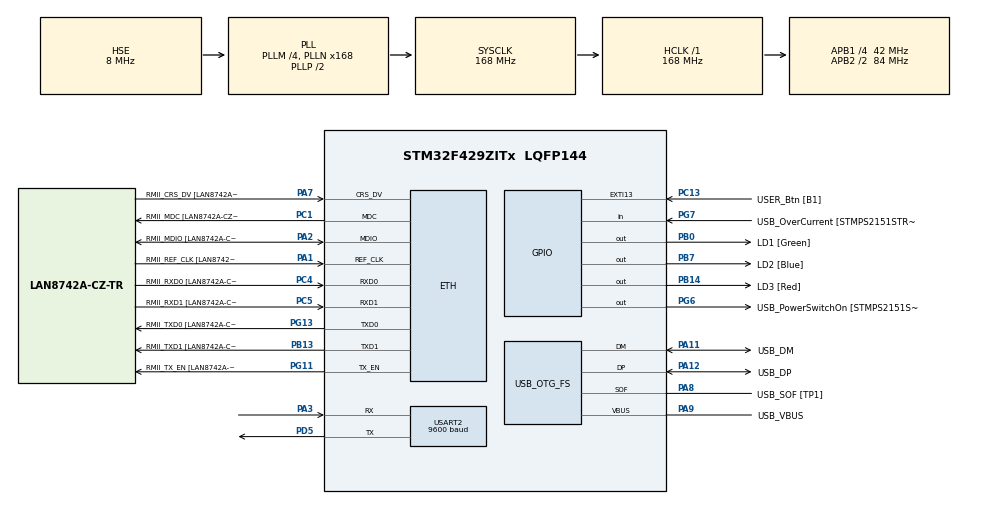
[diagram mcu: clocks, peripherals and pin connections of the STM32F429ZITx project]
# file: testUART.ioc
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Dma.Request0=USART2_TX
Dma.Request1=USART2_RX
Dma.USART2_RX.1.Direction=DMA_PERIPH_TO_MEMORY
Dma.USART2_RX.1.FIFOMode=DMA_FIFOMODE_DISABLE
Dma.USART2_RX.1.Instance=DMA1_Stream5
Dma.USART2_RX.1.MemDataAlignment=DMA_MDATAALIGN_BYTE
Dma.USART2_RX.1.MemInc=DMA_MINC_ENABLE
Dma.USART2_RX.1.Mode=DMA_NORMAL
Dma.USART2_RX.1.PeriphDataAlignment=DMA_PDATAALIGN_BYTE
Dma.USART2_RX.1.PeriphInc=DMA_PINC_DISABLE
Dma.USART2_RX.1.Priority=DMA_PRIORITY_LOW
Dma.USART2_TX.0.Direction=DMA_MEMORY_TO_PERIPH
Dma.USART2_TX.0.FIFOMode=DMA_FIFOMODE_DISABLE
Dma.USART2_TX.0.Instance=DMA1_Stream6
Dma.USART2_TX.0.MemDataAlignment=DMA_MDATAALIGN_BYTE
Dma.USART2_TX.0.MemInc=DMA_MINC_ENABLE
Dma.USART2_TX.0.Mode=DMA_NORMAL
Dma.USART2_TX.0.PeriphDataAlignment=DMA_PDATAALIGN_BYTE
Dma.USART2_TX.0.PeriphInc=DMA_PINC_DISABLE
Dma.USART2_TX.0.Priority=DMA_PRIORITY_LOW
ETH.MediaInterface=HAL_ETH_RMII_MODE
ETH.PHY_Name=LAN8742A_PHY_ADDRESS
ETH.PHY_Value=0
ETH.PhyAddress=0
Mcu.Family=STM32F4
Mcu.Name=STM32F429ZITx
Mcu.Package=LQFP144
NVIC.DMA1_Stream5_IRQn=true\:0\:0\:false\:false\:true\:false\:true\:true
NVIC.DMA1_Stream6_IRQn=true\:0\:0\:false\:false\:true\:false\:true\:true
NVIC.EXTI15_10_IRQn=true\:0\:0\:false\:false\:true\:true\:true\:true
NVIC.PriorityGroup=NVIC_PRIORITYGROUP_4
NVIC.USART2_IRQn=true\:0\:0\:false\:false\:true\:true\:true\:true
PA1.GPIO_Label=RMII_REF_CLK [LAN8742A-CZ-TR_REFCLK0]
PA1.Mode=RMII
PA1.Signal=ETH_REF_CLK
PA10.GPIO_Label=USB_ID
PA10.Signal=USB_OTG_FS_ID
PA11.GPIO_Label=USB_DM
PA11.Mode=Device_Only
PA11.Signal=USB_OTG_FS_DM
PA12.GPIO_Label=USB_DP
PA12.Mode=Device_Only
PA12.Signal=USB_OTG_FS_DP
PA13.GPIO_Label=TMS
PA13.Mode=Serial_Wire
PA13.Signal=SYS_JTMS-SWDIO
PA14.GPIO_Label=TCK
PA14.Mode=Serial_Wire
PA14.Signal=SYS_JTCK-SWCLK
PA2.GPIO_Label=RMII_MDIO [LAN8742A-CZ-TR_MDIO]
PA2.Mode=RMII
PA2.Signal=ETH_MDIO
PA3.Mode=Asynchronous
PA3.Signal=USART2_RX
PA7.GPIO_Label=RMII_CRS_DV [LAN8742A-CZ-TR_CRS_DV]
PA7.Mode=RMII
PA7.Signal=ETH_CRS_DV
PA8.GPIO_Label=USB_SOF [TP1]
PA8.Mode=Activate_SOF_FS
PA8.Signal=USB_OTG_FS_SOF
PA9.GPIO_Label=USB_VBUS
PA9.Mode=Activate_VBUS
PA9.Signal=USB_OTG_FS_VBUS
PB0.GPIO_Label=LD1 [Green]
PB0.Signal=GPIO_Output
PB13.GPIO_Label=RMII_TXD1 [LAN8742A-CZ-TR_TXD1]
PB13.Mode=RMII
PB13.Signal=ETH_TXD1
PB14.GPIO_Label=LD3 [Red]
PB14.Signal=GPIO_Output
PB7.GPIO_Label=LD2 [Blue]
PB7.Signal=GPIO_Output
PC1.GPIO_Label=RMII_MDC [LAN8742A-CZ-TR_MDC]
PC1.Mode=RMII
PC1.Signal=ETH_MDC
PC13.GPIO_Label=USER_Btn [B1]
PC13.GPIO_ModeDefaultEXTI=GPIO_MODE_IT_RISING
PC13.GPIO_PuPd=GPIO_PULLDOWN
PC13.Signal=GPXTI13
PC14/OSC32_IN.Mode=LSE-External-Oscillator
PC14/OSC32_IN.Signal=RCC_OSC32_IN
PC15/OSC32_OUT.Mode=LSE-External-Oscillator
PC15/OSC32_OUT.Signal=RCC_OSC32_OUT
PC4.GPIO_Label=RMII_RXD0 [LAN8742A-CZ-TR_RXD0]
PC4.Mode=RMII
PC4.Signal=ETH_RXD0
PC5.GPIO_Label=RMII_RXD1 [LAN8742A-CZ-TR_RXD1]
PC5.Mode=RMII
PC5.Signal=ETH_RXD1
PD5.Mode=Asynchronous
PD5.Signal=USART2_TX
PD8.GPIO_Label=STLK_RX [STM32F103CBT6_PA3]
PD8.Signal=USART3_TX
PD9.GPIO_Label=STLK_TX [STM32F103CBT6_PA2]
PD9.Signal=USART3_RX
PG11.GPIO_Label=RMII_TX_EN [LAN8742A-CZ-TR_TXEN]
PG11.Mode=RMII
PG11.Signal=ETH_TX_EN
PG13.GPIO_Label=RMII_TXD0 [LAN8742A-CZ-TR_TXD0]
PG13.Mode=RMII
PG13.Signal=ETH_TXD0
PG6.GPIO_Label=USB_PowerSwitchOn [STMPS2151STR_EN]
PG6.Signal=GPIO_Output
PG7.GPIO_Label=USB_OverCurrent [STMPS2151STR_FAULT]
PG7.Signal=GPIO_Input
PH0/OSC_IN.GPIO_Label=MCO [STM32F103CBT6_PA8]
PH0/OSC_IN.Mode=HSE-External-Clock-Source
PH0/OSC_IN.Signal=RCC_OSC_IN
PH1/OSC_OUT.Mode=HSE-External-Clock-Source
PH1/OSC_OUT.Signal=RCC_OSC_OUT
ProjectManager.HeapSize=0x200
ProjectManager.StackSize=0x400
ProjectManager.TargetToolchain=STM32CubeIDE
RCC.48MHZClocksFreq_Value=48000000
RCC.AHBFreq_Value=168000000
RCC.APB1CLKDivider=RCC_HCLK_DIV4
RCC.APB1Freq_Value=42000000
RCC.APB1TimFreq_Value=84000000
RCC.APB2CLKDivider=RCC_HCLK_DIV2
RCC.APB2Freq_Value=84000000
RCC.APB2TimCLKDivider=2
RCC.APB2TimFreq_Value=168000000
RCC.CortexFreq_Value=168000000
RCC.HCLKFreq_Value=168000000
RCC.HSE_VALUE=8000000
RCC.HSI_VALUE=16000000
RCC.PLLM=4
RCC.PLLMUL=RCC_PLL_MUL9
RCC.PLLN=168
RCC.PLLQ=7
RCC.PRESCALERUSB=RCC_USBCLKSOURCE_PLL_DIV1_5
RCC.SYSCLKFreq_VALUE=168000000
RCC.SYSCLKSource=RCC_SYSCLKSOURCE_PLLCLK
RCC.SYSCLKSourceVirtual=RCC_SYSCLKSOURCE_PLLCLK
RCC.USBFreq_Value=48000000
RCC.VCOOutputFreq_Value=336000000
USART2.BaudRate=9600
USART2.VirtualMode=VM_ASYNC
USB_OTG_FS.VirtualMode=Device_Only
board=NUCLEO-F429ZI

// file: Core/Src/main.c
/* USER CODE BEGIN Header */
/**
  ******************************************************************************
  * @file           : main.c
  * @brief          : Main program body
  ******************************************************************************
  * @attention
  *
  * Copyright (c) 2024 STMicroelectronics.
  * All rights reserved.
  *
  * This software is licensed under terms that can be found in the LICENSE file
  * in the root directory of this software component.
  * If no LICENSE file comes with this software, it is provided AS-IS.
  *
  ******************************************************************************
  */
/* USER CODE END Header */
#include "main.h"
#include "string.h"
#include "bluetooth.h"

ETH_TxPacketConfig TxConfig;
ETH_DMADescTypeDef  DMARxDscrTab[ETH_RX_DESC_CNT]; /* Ethernet Rx DMA Descriptors */
ETH_DMADescTypeDef  DMATxDscrTab[ETH_TX_DESC_CNT]; /* Ethernet Tx DMA Descriptors */

ETH_HandleTypeDef heth;

UART_HandleTypeDef huart2;
DMA_HandleTypeDef hdma_usart2_tx;
DMA_HandleTypeDef hdma_usart2_rx;

PCD_HandleTypeDef hpcd_USB_OTG_FS;

void SystemClock_Config(void);
static void MX_GPIO_Init(void);
static void MX_DMA_Init(void);
static void MX_ETH_Init(void);
static void MX_USB_OTG_FS_PCD_Init(void);
static void MX_USART2_UART_Init(void);
/* USER CODE BEGIN PFP */
#define MESSAGE_LENGTH 16
/* USER CODE END PFP */

/* USER CODE BEGIN 0 */
UART_HandleTypeDef *bt_huart = &huart2;
uint8_t receive[MESSAGE_LENGTH];
uint8_t transmit[MESSAGE_LENGTH];
uint32_t uartRxIT, uartTxIT;
/* USER CODE END 0 */

int main(void)
{

  /* MCU Configuration--------------------------------------------------------*/

  /* Reset of all peripherals, Initializes the Flash interface and the Systick. */
  HAL_Init();

  /* USER CODE BEGIN Init */
  for(int i=0; i<MESSAGE_LENGTH; i++)
  {
	  transmit[i] = 0x2A;
  }
  /* USER CODE END Init */

  /* Configure the system clock */
  SystemClock_Config();

  /* Initialize all configured peripherals */
  MX_GPIO_Init();
  MX_DMA_Init();
  MX_ETH_Init();
  MX_USB_OTG_FS_PCD_Init();
  MX_USART2_UART_Init();
  /* USER CODE BEGIN 2 */
  BT_Config(bt_huart, MESSAGE_LENGTH);
  BT_Start_Receive();
  /* USER CODE END 2 */

  /* Infinite loop */
  /* USER CODE BEGIN WHILE */
  while (1)
  {
		HAL_GPIO_TogglePin(GPIOB, GPIO_PIN_7);
		HAL_Delay(200);
    /* USER CODE END WHILE */

  }
}

void SystemClock_Config(void)
{
  RCC_OscInitTypeDef RCC_OscInitStruct = {0};
  RCC_ClkInitTypeDef RCC_ClkInitStruct = {0};

  /** Configure the main internal regulator output voltage
  */
  __HAL_RCC_PWR_CLK_ENABLE();
  __HAL_PWR_VOLTAGESCALING_CONFIG(PWR_REGULATOR_VOLTAGE_SCALE1);

  /** Initializes the RCC Oscillators according to the specified parameters
  * in the RCC_OscInitTypeDef structure.
  */
  RCC_OscInitStruct.OscillatorType = RCC_OSCILLATORTYPE_HSE;
  RCC_OscInitStruct.HSEState = RCC_HSE_BYPASS;
  RCC_OscInitStruct.PLL.PLLState = RCC_PLL_ON;
  RCC_OscInitStruct.PLL.PLLSource = RCC_PLLSOURCE_HSE;
  RCC_OscInitStruct.PLL.PLLM = 4;
  RCC_OscInitStruct.PLL.PLLN = 168;
  RCC_OscInitStruct.PLL.PLLP = RCC_PLLP_DIV2;
  RCC_OscInitStruct.PLL.PLLQ = 7;
  if (HAL_RCC_OscConfig(&RCC_OscInitStruct) != HAL_OK)
  {
    Error_Handler();
  }

  /** Initializes the CPU, AHB and APB buses clocks
  */
  RCC_ClkInitStruct.ClockType = RCC_CLOCKTYPE_HCLK|RCC_CLOCKTYPE_SYSCLK
                              |RCC_CLOCKTYPE_PCLK1|RCC_CLOCKTYPE_PCLK2;
  RCC_ClkInitStruct.SYSCLKSource = RCC_SYSCLKSOURCE_PLLCLK;
  RCC_ClkInitStruct.AHBCLKDivider = RCC_SYSCLK_DIV1;
  RCC_ClkInitStruct.APB1CLKDivider = RCC_HCLK_DIV4;
  RCC_ClkInitStruct.APB2CLKDivider = RCC_HCLK_DIV2;

  if (HAL_RCC_ClockConfig(&RCC_ClkInitStruct, FLASH_LATENCY_5) != HAL_OK)
  {
    Error_Handler();
  }
}

static void MX_ETH_Init(void)
{

   static uint8_t MACAddr[6];

  heth.Instance = ETH;
  MACAddr[0] = 0x00;
  MACAddr[1] = 0x80;
  MACAddr[2] = 0xE1;
  MACAddr[3] = 0x00;
  MACAddr[4] = 0x00;
  MACAddr[5] = 0x00;
  heth.Init.MACAddr = &MACAddr[0];
  heth.Init.MediaInterface = HAL_ETH_RMII_MODE;
  heth.Init.TxDesc = DMATxDscrTab;
  heth.Init.RxDesc = DMARxDscrTab;
  heth.Init.RxBuffLen = 1524;

  if (HAL_ETH_Init(&heth) != HAL_OK)
  {
    Error_Handler();
  }

  memset(&TxConfig, 0 , sizeof(ETH_TxPacketConfig));
  TxConfig.Attributes = ETH_TX_PACKETS_FEATURES_CSUM | ETH_TX_PACKETS_FEATURES_CRCPAD;
  TxConfig.ChecksumCtrl = ETH_CHECKSUM_IPHDR_PAYLOAD_INSERT_PHDR_CALC;
  TxConfig.CRCPadCtrl = ETH_CRC_PAD_INSERT;

}

static void MX_USART2_UART_Init(void)
{

  huart2.Instance = USART2;
  huart2.Init.BaudRate = 9600;
  huart2.Init.WordLength = UART_WORDLENGTH_8B;
  huart2.Init.StopBits = UART_STOPBITS_1;
  huart2.Init.Parity = UART_PARITY_NONE;
  huart2.Init.Mode = UART_MODE_TX_RX;
  huart2.Init.HwFlowCtl = UART_HWCONTROL_NONE;
  huart2.Init.OverSampling = UART_OVERSAMPLING_16;
  if (HAL_UART_Init(&huart2) != HAL_OK)
  {
    Error_Handler();
  }

}

static void MX_USB_OTG_FS_PCD_Init(void)
{

  hpcd_USB_OTG_FS.Instance = USB_OTG_FS;
  hpcd_USB_OTG_FS.Init.dev_endpoints = 4;
  hpcd_USB_OTG_FS.Init.speed = PCD_SPEED_FULL;
  hpcd_USB_OTG_FS.Init.dma_enable = DISABLE;
  hpcd_USB_OTG_FS.Init.phy_itface = PCD_PHY_EMBEDDED;
  hpcd_USB_OTG_FS.Init.Sof_enable = ENABLE;
  hpcd_USB_OTG_FS.Init.low_power_enable = DISABLE;
  hpcd_USB_OTG_FS.Init.lpm_enable = DISABLE;
  hpcd_USB_OTG_FS.Init.vbus_sensing_enable = ENABLE;
  hpcd_USB_OTG_FS.Init.use_dedicated_ep1 = DISABLE;
  if (HAL_PCD_Init(&hpcd_USB_OTG_FS) != HAL_OK)
  {
    Error_Handler();
  }

}

static void MX_DMA_Init(void)
{

  /* DMA controller clock enable */
  __HAL_RCC_DMA1_CLK_ENABLE();

  /* DMA interrupt init */
  /* DMA1_Stream5_IRQn interrupt configuration */
  HAL_NVIC_SetPriority(DMA1_Stream5_IRQn, 0, 0);
  HAL_NVIC_EnableIRQ(DMA1_Stream5_IRQn);
  /* DMA1_Stream6_IRQn interrupt configuration */
  HAL_NVIC_SetPriority(DMA1_Stream6_IRQn, 0, 0);
  HAL_NVIC_EnableIRQ(DMA1_Stream6_IRQn);

}

static void MX_GPIO_Init(void)
{
  GPIO_InitTypeDef GPIO_InitStruct = {0};

  /* GPIO Ports Clock Enable */
  __HAL_RCC_GPIOC_CLK_ENABLE();
  __HAL_RCC_GPIOH_CLK_ENABLE();
  __HAL_RCC_GPIOA_CLK_ENABLE();
  __HAL_RCC_GPIOB_CLK_ENABLE();
  __HAL_RCC_GPIOD_CLK_ENABLE();
  __HAL_RCC_GPIOG_CLK_ENABLE();

  /*Configure GPIO pin Output Level */
  HAL_GPIO_WritePin(GPIOB, LD1_Pin|LD3_Pin|LD2_Pin, GPIO_PIN_RESET);

  /*Configure GPIO pin Output Level */
  HAL_GPIO_WritePin(USB_PowerSwitchOn_GPIO_Port, USB_PowerSwitchOn_Pin, GPIO_PIN_RESET);

  /*Configure GPIO pin : USER_Btn_Pin */
  GPIO_InitStruct.Pin = USER_Btn_Pin;
  GPIO_InitStruct.Mode = GPIO_MODE_IT_RISING;
  GPIO_InitStruct.Pull = GPIO_PULLDOWN;
  HAL_GPIO_Init(USER_Btn_GPIO_Port, &GPIO_InitStruct);

  /*Configure GPIO pins : LD1_Pin LD3_Pin LD2_Pin */
  GPIO_InitStruct.Pin = LD1_Pin|LD3_Pin|LD2_Pin;
  GPIO_InitStruct.Mode = GPIO_MODE_OUTPUT_PP;
  GPIO_InitStruct.Pull = GPIO_NOPULL;
  GPIO_InitStruct.Speed = GPIO_SPEED_FREQ_LOW;
  HAL_GPIO_Init(GPIOB, &GPIO_InitStruct);

  /*Configure GPIO pins : STLK_RX_Pin STLK_TX_Pin */
  GPIO_InitStruct.Pin = STLK_RX_Pin|STLK_TX_Pin;
  GPIO_InitStruct.Mode = GPIO_MODE_AF_PP;
  GPIO_InitStruct.Pull = GPIO_NOPULL;
  GPIO_InitStruct.Speed = GPIO_SPEED_FREQ_VERY_HIGH;
  GPIO_InitStruct.Alternate = GPIO_AF7_USART3;
  HAL_GPIO_Init(GPIOD, &GPIO_InitStruct);

  /*Configure GPIO pin : USB_PowerSwitchOn_Pin */
  GPIO_InitStruct.Pin = USB_PowerSwitchOn_Pin;
  GPIO_InitStruct.Mode = GPIO_MODE_OUTPUT_PP;
  GPIO_InitStruct.Pull = GPIO_NOPULL;
  GPIO_InitStruct.Speed = GPIO_SPEED_FREQ_LOW;
  HAL_GPIO_Init(USB_PowerSwitchOn_GPIO_Port, &GPIO_InitStruct);

  /*Configure GPIO pin : USB_OverCurrent_Pin */
  GPIO_InitStruct.Pin = USB_OverCurrent_Pin;
  GPIO_InitStruct.Mode = GPIO_MODE_INPUT;
  GPIO_InitStruct.Pull = GPIO_NOPULL;
  HAL_GPIO_Init(USB_OverCurrent_GPIO_Port, &GPIO_InitStruct);

  /* EXTI interrupt init*/
  HAL_NVIC_SetPriority(EXTI15_10_IRQn, 0, 0);
  HAL_NVIC_EnableIRQ(EXTI15_10_IRQn);

}

/* USER CODE BEGIN 4 */

void HAL_GPIO_EXTI_Callback(uint16_t GPIO_Pin)
{
	if(GPIO_Pin == GPIO_PIN_13)
	{
		BT_Transmit(transmit);
		HAL_GPIO_WritePin(GPIOB, GPIO_PIN_0, SET);
	}
}

void HAL_UART_TxCpltCallback(UART_HandleTypeDef *huart)
{
	if(huart == bt_huart)
	{
		uartTxIT++;
		BT_Tx_Cplt();
		HAL_GPIO_WritePin(GPIOB, GPIO_PIN_0, RESET);
	}
}

void HAL_UART_RxCpltCallback(UART_HandleTypeDef *huart)
{
  if(huart == bt_huart)
  {
	  uartRxIT++;
	  const uint8_t *tmp;
	  tmp = BT_Rx_Cplt();
	  memcpy(receive, tmp, MESSAGE_LENGTH);
	  HAL_GPIO_TogglePin(GPIOB, GPIO_PIN_14);
  }
}
/* USER CODE END 4 */

void Error_Handler(void)
{
  __disable_irq();
  while (1)
  {
  }
}
